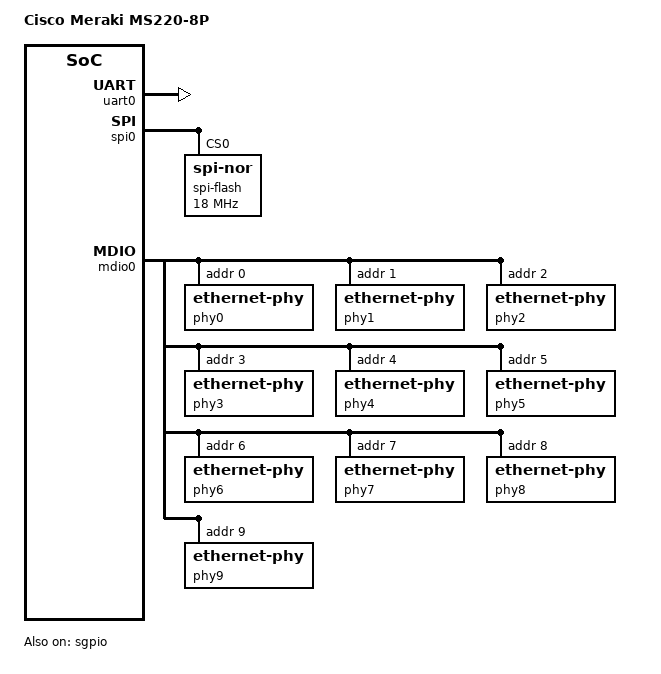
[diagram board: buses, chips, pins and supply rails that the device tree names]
// SPDX-License-Identifier: (GPL-2.0+ OR MIT)
/*
 * Copyright (c) 2018 Microsemi Corporation
 */

/dts-v1/;
#include "mscc,luton.dtsi"
#include <dt-bindings/mscc/luton_data.h>

/ {
	model = "Cisco Meraki MS220-8P";
	compatible = "mscc,ms2208p", "mscc,luton";

	aliases {
		serial0 = &uart0;
		spi0 = &spi0;
	};

	chosen {
		stdout-path = "serial0:115200n8";
	};
};

&sgpio {
	status = "okay";
	gpio-ranges = <&sgpio 0 0 96>;
};

&uart0 {
	status = "okay";
};

&spi0 {
	status = "okay";
	spi-flash@0 {
		compatible = "jedec,spi-nor";
		spi-max-frequency = <18000000>; /* input clock */
		reg = <0>; /* CS0 */
		spi-cs-high;
	};
};

&mdio0 {
	status = "okay";

	phy0: ethernet-phy@0 {
		reg = <0>;
	};
	phy1: ethernet-phy@1 {
		reg = <1>;
	};
	phy2: ethernet-phy@2 {
		reg = <2>;
	};
	phy3: ethernet-phy@3 {
		reg = <3>;
	};
	phy4: ethernet-phy@4 {
		reg = <4>;
	};
	phy5: ethernet-phy@5 {
		reg = <5>;
	};
	phy6: ethernet-phy@6 {
		reg = <6>;
	};
	phy7: ethernet-phy@7 {
		reg = <7>;
	};
	phy8: ethernet-phy@8 {
		reg = <8>;
	};
	phy9: ethernet-phy@9 {
		reg = <9>;
	};
};

&switch {
	ethernet-ports {
		port0: port@0 {
			reg = <0>;
			phy-handle = <&phy0>;
		};
		port1: port@1 {
			reg = <1>;
			phy-handle = <&phy1>;
		};
		port2: port@2 {
			reg = <2>;
			phy-handle = <&phy2>;
		};
		port3: port@3 {
			reg = <3>;
			phy-handle = <&phy3>;
		};
		port4: port@4 {
			reg = <4>;
			phy-handle = <&phy4>;
		};
		port5: port@5 {
			reg = <5>;
			phy-handle = <&phy5>;
		};
		port6: port@6 {
			reg = <6>;
			phy-handle = <&phy6>;
		};
		port7: port@7 {
			reg = <7>;
			phy-handle = <&phy7>;
		};
		port8: port@8 {
			reg = <8>;
			phy-handle = <&phy8>;
		};
		port9: port@9 {
			reg = <9>;
			phy-handle = <&phy9>;
		};
	};
};
